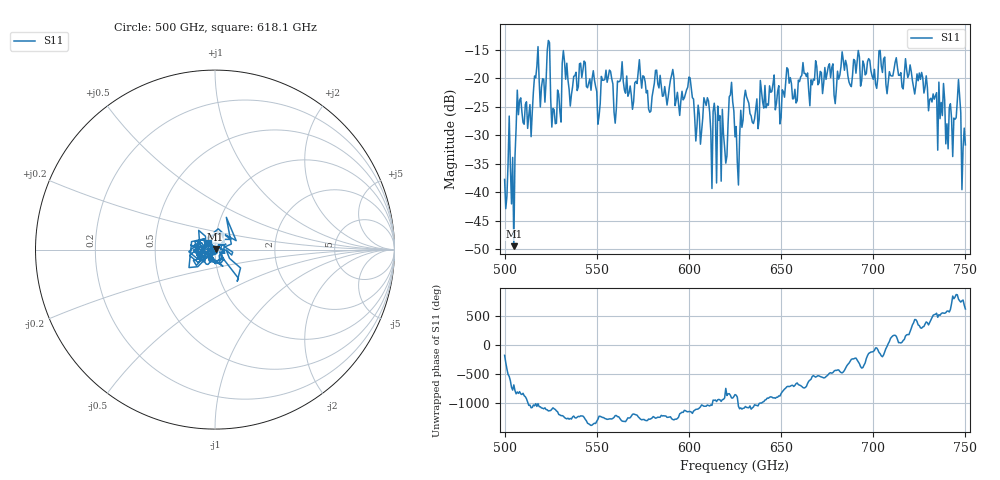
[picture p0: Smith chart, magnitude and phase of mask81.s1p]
!Created with skrf (http://scikit-rf.org).
# GHz S MA R 50.0
!freq magS11 angS11
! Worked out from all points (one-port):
!   401 points, 500 GHz to 750 GHz, reference 50 ohm
!   lowest |S11| = -49.5 dB at 505 GHz (marker M1), VSWR 1.01, Z = 50.3 + j0.185 ohm
!   |S11| at or under -10 dB: start of sweep to end of sweep
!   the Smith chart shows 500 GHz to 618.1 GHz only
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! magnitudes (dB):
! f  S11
! 500 GHz  -37.7
! 505 GHz  -49.5
! 508.1 GHz  -23.8
! 513.8 GHz  -24.6
! 516.9 GHz  -19.9
! 520.6 GHz  -20.0
! 523.8 GHz  -13.3
! 526.9 GHz  -25.5
! 531.2 GHz  -17.4
! 542.5 GHz  -18.5
! 550.6 GHz  -28.0
! 562.5 GHz  -20.5
! 590.6 GHz  -19.4
! 593.8 GHz  -22.4
! 600 GHz  -19.8
! 605 GHz  -24.7
! 609.4 GHz  -24.7
! 618.8 GHz  -29.8
! 623.1 GHz  -20.7
! 625 GHz  -30.3
! 626.2 GHz  -34.7
! 631.2 GHz  -23.2
! 656.2 GHz  -23.6
! 687.5 GHz  -21.2
! 718.8 GHz  -19.8
! 741.9 GHz  -24.4
! 746.2 GHz  -20.2
! 750 GHz  -31.7
